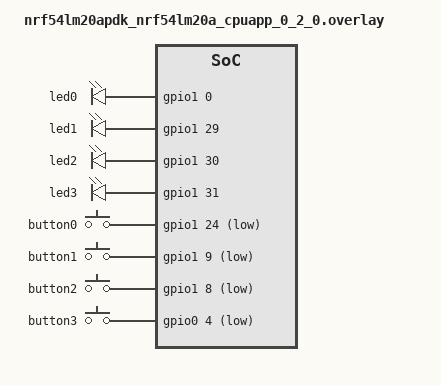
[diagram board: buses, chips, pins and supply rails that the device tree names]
/*
 * Copyright (c) 2025 Nordic Semiconductor ASA
 *
 * SPDX-License-Identifier: LicenseRef-Nordic-5-Clause
 */

/ {
	leds {
		compatible = "gpio-leds";

		led0: led_0 {
			gpios = <&gpio1 0 GPIO_ACTIVE_HIGH>;
		};

		led1: led_1 {
			gpios = <&gpio1 29 GPIO_ACTIVE_HIGH>;
		};

		led2: led_2 {
			gpios = <&gpio1 30 GPIO_ACTIVE_HIGH>;
		};

		led3: led_3 {
			gpios = <&gpio1 31 GPIO_ACTIVE_HIGH>;
		};
	};

	buttons {
		compatible = "gpio-keys";

		button0: button_0 {
			gpios = <&gpio1 24 (GPIO_PULL_UP | GPIO_ACTIVE_LOW)>;
		};

		button1: button_1 {
			gpios = <&gpio1 9 (GPIO_PULL_UP | GPIO_ACTIVE_LOW)>;
		};

		button2: button_2 {
			gpios = <&gpio1 8 (GPIO_PULL_UP | GPIO_ACTIVE_LOW)>;
		};

		button3: button_3 {
			gpios = <&gpio0 4 (GPIO_PULL_UP | GPIO_ACTIVE_LOW)>;
		};
	};
};

&hfpll {
	clock-frequency = <DT_FREQ_M(128)>;
};

&gpio0 {
	gpio-reserved-ranges = <0 3>;
};

&gpio1 {
	gpio-reserved-ranges = <10 5>, <22 2>, <25 4>;
};

&gpio2 {
	gpio-reserved-ranges = <6 4>;
};

&gpio3 {
	gpio-reserved-ranges = <0 12>;
};

&pinctrl {
	/omit-if-no-ref/ pwm20_default: pwm20_default {
		group1 {
			psels = <NRF_PSEL(PWM_OUT0, 1, 29)>;
		};
	};

	/omit-if-no-ref/ pwm20_sleep: pwm20_sleep {
		group1 {
			psels = <NRF_PSEL(PWM_OUT0, 1, 29)>;
			low-power-enable;
		};
	};
};
